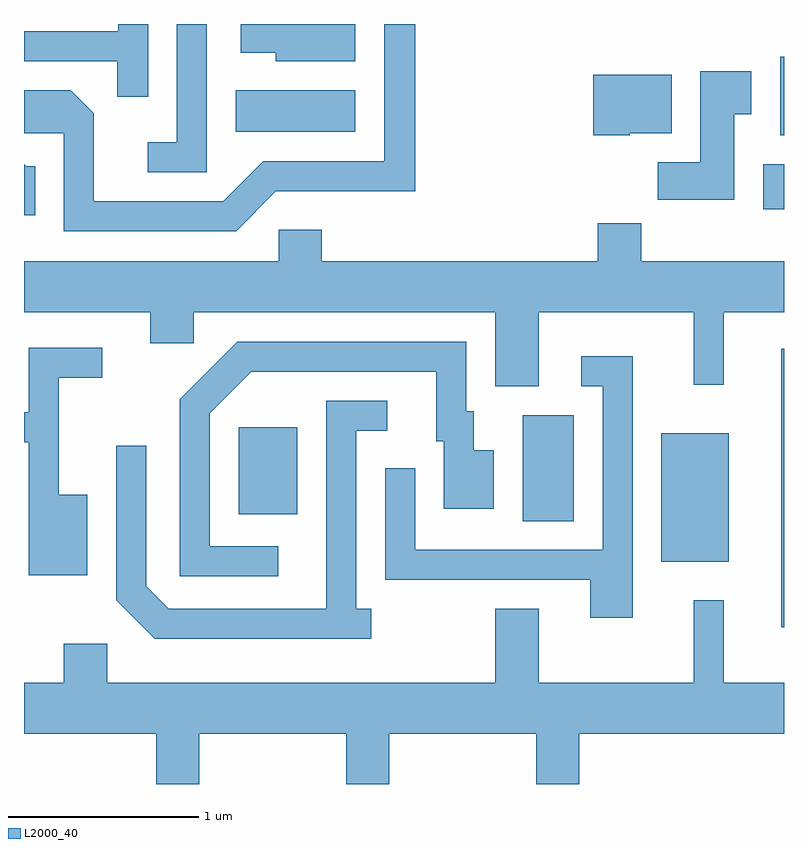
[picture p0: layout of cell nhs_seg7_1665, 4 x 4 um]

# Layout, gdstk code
import gdstk
lib = gdstk.Library(unit=1e-6, precision=1e-09)
def R(c, l, rs):  # rectangles x0, y0, x1, y1
    for r in rs: c.add(gdstk.rectangle(r[:2], r[2:], *l))
def P(c, l, *ps):  # polygons
    for p in ps: c.add(gdstk.Polygon(p, *l))
L2000_40 = (2000, 40)

nhs_seg7_1665 = lib.new_cell('nhs_seg7_1665')
R(nhs_seg7_1665, L2000_40, [(239.596,1737.076,239.611,1738.543), (238.966,1737.421,239.319,1738.099), (238.236,1737.636,238.504,1738.194), (236.741,1737.671,237.049,1738.129), (239.501,1739.276,239.611,1739.514), (239.591,1739.666,239.611,1740.079), (236.726,1739.686,237.354,1739.904)])
P(nhs_seg7_1665, L2000_40, [(236.937,1739.371),(237.669,1739.371),(237.669,1740.252),(237.506,1740.252),(237.506,1739.529),(236.869,1739.529),(236.659,1739.319),(235.979,1739.319),(235.979,1739.782),(235.857,1739.904),(235.611,1739.904),(235.611,1739.676),(235.821,1739.676),(235.821,1739.161),(236.727,1739.161)],
  [(237.354,1740.252),(236.751,1740.252),(236.751,1740.101),(236.936,1740.101),(236.936,1740.056),(237.354,1740.056)],
  [(236.264,1740.252),(236.106,1740.252),(236.106,1740.214),(235.611,1740.214),(235.611,1740.056),(236.101,1740.056),(236.101,1739.868),(236.264,1739.868)],
  [(236.574,1740.252),(236.416,1740.252),(236.416,1739.629),(236.263,1739.629),(236.263,1739.471),(236.574,1739.471)],
  [(239.349,1739.776),(239.439,1739.776),(239.439,1740.004),(239.171,1740.004),(239.171,1739.524),(238.946,1739.524),(238.946,1739.326),(239.349,1739.326)],
  [(238.8,1739.676),(239.019,1739.676),(239.019,1739.984),(238.606,1739.984),(238.606,1739.666),(238.8,1739.666)],
  [(235.669,1739.504),(235.622,1739.504),(235.611,1739.515),(235.611,1739.246),(235.669,1739.246)],
  [(238.319,1738.736),(239.136,1738.736),(239.136,1738.353),(239.294,1738.353),(239.294,1738.736),(239.611,1738.736),(239.611,1739.004),(238.859,1739.004),(238.859,1739.204),(238.631,1739.204),(238.631,1739.004),(237.179,1739.004),(237.179,1739.169),(236.951,1739.169),(236.951,1739.004),(235.611,1739.004),(235.611,1738.736),(236.276,1738.736),(236.276,1738.571),(236.504,1738.571),(236.504,1738.736),(238.091,1738.736),(238.091,1738.346),(238.319,1738.346)],
  [(236.948,1737.504),(236.589,1737.504),(236.589,1738.204),(236.807,1738.421),(237.781,1738.421),(237.781,1738.056),(237.821,1738.056),(237.821,1737.701),(238.084,1737.701),(238.084,1738.009),(237.979,1738.009),(237.979,1738.214),(237.939,1738.214),(237.939,1738.579),(236.734,1738.579),(236.431,1738.277),(236.431,1737.346),(236.948,1737.346)],
  [(235.944,1737.774),(235.794,1737.774),(235.794,1738.391),(236.023,1738.391),(236.023,1738.549),(235.636,1738.549),(235.636,1738.209),(235.611,1738.209),(235.611,1738.051),(235.636,1738.051),(235.636,1737.351),(235.944,1737.351)],
  [(238.814,1738.504),(238.543,1738.504),(238.543,1738.346),(238.656,1738.346),(238.656,1737.484),(237.669,1737.484),(237.669,1737.913),(237.511,1737.913),(237.511,1737.326),(238.591,1737.326),(238.591,1737.126),(238.814,1737.126)],
  [(237.438,1737.174),(237.359,1737.174),(237.359,1738.111),(237.523,1738.111),(237.523,1738.269),(237.201,1738.269),(237.201,1737.174),(236.372,1737.174),(236.254,1737.292),(236.254,1738.033),(236.096,1738.033),(236.096,1737.219),(236.299,1737.016),(237.438,1737.016)],
  [(236.534,1736.516),(237.306,1736.516),(237.306,1736.252),(237.534,1736.252),(237.534,1736.516),(238.306,1736.516),(238.306,1736.252),(238.534,1736.252),(238.534,1736.516),(239.611,1736.516),(239.611,1736.784),(239.294,1736.784),(239.294,1737.218),(239.136,1737.218),(239.136,1736.784),(238.319,1736.784),(238.319,1737.174),(238.091,1737.174),(238.091,1736.784),(236.049,1736.784),(236.049,1736.989),(235.821,1736.989),(235.821,1736.784),(235.611,1736.784),(235.611,1736.516),(236.306,1736.516),(236.306,1736.252),(236.534,1736.252)])

lib.write_gds('nhs_seg7_1665.gds')
